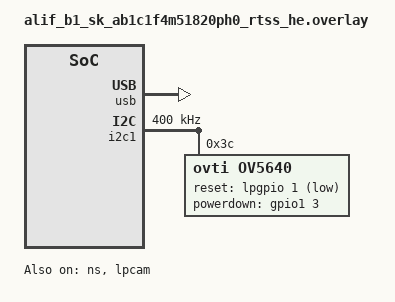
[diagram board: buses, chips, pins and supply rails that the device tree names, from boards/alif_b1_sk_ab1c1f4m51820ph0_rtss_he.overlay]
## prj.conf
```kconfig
# Copyright (C) 2026 Alif Semiconductor
# SPDX-License-Identifier: Apache-2.0

# Video
CONFIG_VIDEO=y
CONFIG_LOG=y
CONFIG_PRINTK=y
CONFIG_STDOUT_CONSOLE=y
CONFIG_I2C_TARGET=y
CONFIG_I2C=y
CONFIG_I2C_DW_CLOCK_SPEED=100
CONFIG_SYS_HEAP_AUTO=y

# USB device stack (new stack, required for DWC3). The UVC webcam class is
# implemented locally in this sample (src/uvc.c) on top of the raw device
# stack, so no in-tree class Kconfig is needed.
CONFIG_USB_DEVICE_STACK_NEXT=y
CONFIG_SAMPLE_USBD_PID=0x0008
CONFIG_SAMPLE_USBD_PRODUCT="Alif Video Capture"
CONFIG_MAIN_STACK_SIZE=2048

# Enlarge the UDC request pool: the bulk IN frame pump streams JPEG frames in
# UVC_TX_CHUNK (2 KB) pieces and needs headroom alongside the control buffers.
CONFIG_UDC_BUF_POOL_SIZE=8192
CONFIG_UDC_BUF_COUNT=16

# Quiet the USB stack — keep warnings/errors but drop the per-transfer INFOs.
CONFIG_UDC_DRIVER_LOG_LEVEL_ERR=y
CONFIG_USBD_LOG_LEVEL_ERR=y

# Console line input — only used by VIDEO_USBOUT_INTERACTIVE_CONFIG, but
# CONSOLE_GETLINE is a Kconfig choice symbol so we can't `select` it from
# our sample option; enable it here so the menu is available when the
# user flips VIDEO_USBOUT_INTERACTIVE_CONFIG on.
CONFIG_VIDEO_USBOUT_INTERACTIVE_CONFIG=y
CONFIG_CONSOLE_SUBSYS=y
CONFIG_CONSOLE_GETLINE=y
```

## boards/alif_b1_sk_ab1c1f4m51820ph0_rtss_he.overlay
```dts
/* Copyright (C) 2026 Alif Semiconductor - All Rights Reserved.
 * Use, distribution and modification of this code is permitted under the
 * terms stated in the Alif Semiconductor Software License Agreement
 *
 * You should have received a copy of the Alif Semiconductor Software
 * License Agreement with this file. If not, please write to:
 * contact@alifsemi.com, or visit: https://alifsemi.com/license
 *
 */

#include <dt-bindings/pinctrl/balletto-pinctrl.h>
#include <dt-bindings/i2c/i2c.h>
#include <dt-bindings/gpio/gpio.h>
#include <dt-bindings/video/video-interfaces.h>

/*
 * DTCM is 1536K (0x20000000..0x20180000), split at 0x200C0000:
 *
 *   [0x20000000 .. 0x200C0000)  768K  Zephyr core (.data/.bss/heap/stacks)
 *   [0x200C0000 .. 0x20180000)  768K  NON_SECURE0 (this node): USB DMA
 *                                     buffers + video capture pool
 *                                     (.alif_ns section, soc/.../alif_ns.ld)
 *
 * The video pool (camera DMA target) and the USB buffers must live in
 * NON_SECURE0, so growing the capture buffer means growing this region.
 *
 * CRITICAL: the base AND size must be aligned to the DTCM TGU block size.
 * At boot sau_tcm_ns_setup() (modules/hal/alif) marks this region non-secure
 * in BOTH the SAU (exact, 32-byte granular) and the TGU (whole DTCM blocks,
 * via integer division - see tgu.c). If the base is not block-aligned the
 * TGU marks the partial block below it non-secure while the SAU keeps it
 * secure; any secure access into that window then faults (BusFault/MemManage).
 * The DTCM TGU block on B1 is 128K; 0x200C0000 is 768K (6*128K) from the DTCM
 * base, which is block-aligned. Do not give this an unaligned base.
 *
 * Keep in sync with CONFIG_VIDEO_BUFFER_POOL_SZ_MAX (.conf) and
 * JPEG_CAPTURE_MAX_BYTES (main.c). Unlike the previous USB mass-storage
 * design there is no RAM disk here: UVC streams frames straight from the
 * capture buffer out the bulk endpoint.
 */
ns: &ns {
	status = "okay";
	reg = < 0x200C0000 DT_SIZE_K(768)>;
};

/* USB */
zephyr_udc0: &usb {
	status = "okay";
};

/*
 * Override gpio1 pinctrl to exclude P1_0 (JTAG_TMS), P1_1 (JTAG_TDI) and
 * P1_2 (JTAG_TDO) which are connected to the JTAG debug connector on the
 * B1 SK board. The default pinctrl_gpio1 covers the full port and would
 * remux those pads to GPIO, breaking the debug interface.
 */
&pinctrl {
	pinctrl_gpio1_video: pinctrl_gpio1_video {
		group0 {
			pinmux = <PIN_P1_3__GPIO>,
				 <PIN_P1_4__GPIO>,
				 <PIN_P1_5__GPIO>,
				 <PIN_P1_6__GPIO>,
				 <PIN_P1_7__GPIO>;
			read-enable = <0x1>;
		};
	};
};

&gpio1 {
	pinctrl-0 = <&pinctrl_gpio1_video>;
	status = "okay";
};

&lpgpio {
	status = "okay";
};

&i2c1 {
	status = "okay";
	clock-frequency = <I2C_BITRATE_FAST>;
	hcnt-offset = <10>;
	lcnt-offset = <10>;

	ov5640: ov5640@3c{
		compatible = "ovti,ov5640";
		reg = <0x3c>;
		status = "okay";
		reset-gpios = <&lpgpio 1 GPIO_ACTIVE_LOW>;
		powerdown-gpios = <&gpio1 3 GPIO_ACTIVE_HIGH>;

		port {
			ov5640_ep_out: endpoint {
				bus-type = <VIDEO_BUS_TYPE_PARALLEL>;
				remote-endpoint-label = "lpcam_ep_in";
			};
		};
	};
};

&lpcam {
	status = "okay";
	cpi-interface = "parallel";
	ports {
		#address-cells = <1>;
		#size-cells = <0>;

		/* Camera Input Endpoint. For LP-CAM it is only camera */
		port@0 {
			reg = <0>;
			lpcam_ep_in: endpoint {
				remote-endpoint-label = "ov5640_ep_out";
			};
		};

		/* Video buffer output endpoint. */
		port@1 {
			reg = <1>;
			cam_mem_ep_out: endpoint {
				remote-endpoint-label = "application";
			};
		};
	};
};
```

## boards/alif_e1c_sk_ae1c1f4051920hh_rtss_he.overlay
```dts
/* Copyright (C) 2026 Alif Semiconductor - All Rights Reserved.
 * Use, distribution and modification of this code is permitted under the
 * terms stated in the Alif Semiconductor Software License Agreement
 *
 * You should have received a copy of the Alif Semiconductor Software
 * License Agreement with this file. If not, please write to:
 * contact@alifsemi.com, or visit: https://alifsemi.com/license
 *
 */

#include <dt-bindings/pinctrl/ensemble-e1c-pinctrl.h>
#include <dt-bindings/i2c/i2c.h>
#include <dt-bindings/gpio/gpio.h>
#include <dt-bindings/video/video-interfaces.h>

/*
 * DTCM is 1536K (0x20000000..0x20180000), split at 0x200C0000:
 *
 *   [0x20000000 .. 0x200C0000)  768K  Zephyr core (.data/.bss/heap/stacks)
 *   [0x200C0000 .. 0x20180000)  768K  NON_SECURE0 (this node): USB DMA
 *                                     buffers + video capture pool
 *                                     (.alif_ns section, soc/.../alif_ns.ld)
 *
 * The video pool (camera DMA target) and the USB buffers must live in
 * NON_SECURE0, so growing the capture buffer means growing this region.
 *
 * CRITICAL: the base AND size must be aligned to the DTCM TGU block size.
 * At boot sau_tcm_ns_setup() (modules/hal/alif) marks this region non-secure
 * in BOTH the SAU (exact, 32-byte granular) and the TGU (whole DTCM blocks,
 * via integer division - see tgu.c). If the base is not block-aligned the
 * TGU marks the partial block below it non-secure while the SAU keeps it
 * secure; any secure access into that window then faults (BusFault/MemManage).
 * The DTCM TGU block on E1C is >= 64K; 0x200C0000 is 256K-aligned, which is
 * safe for any plausible block size. Do not give this an unaligned base.
 *
 * Keep in sync with CONFIG_VIDEO_BUFFER_POOL_SZ_MAX (.conf) and
 * JPEG_CAPTURE_MAX_BYTES (main.c). Unlike the previous USB mass-storage
 * design there is no RAM disk here: UVC streams frames straight from the
 * capture buffer out the bulk endpoint.
 */
ns: &ns {
	status = "okay";
	reg = < 0x200C0000 DT_SIZE_K(768)>;
};

/* USB */
zephyr_udc0: &usb {
	status = "okay";
};

/*
 * Override gpio1 pinctrl to exclude P1_0 (JTAG_TMS), P1_1 (JTAG_TDI) and
 * P1_2 (JTAG_TDO) which are connected to the JTAG debug connector on the
 * E1C SK board. The default pinctrl_gpio1 covers the full port and would
 * remux those pads to GPIO, breaking the debug interface.
 */
&pinctrl {
	pinctrl_gpio1_video: pinctrl_gpio1_video {
		group0 {
			pinmux = <PIN_P1_3__GPIO>,
				 <PIN_P1_4__GPIO>,
				 <PIN_P1_5__GPIO>,
				 <PIN_P1_6__GPIO>,
				 <PIN_P1_7__GPIO>;
			read-enable = <0x1>;
		};
	};
};

&gpio1 {
	pinctrl-0 = <&pinctrl_gpio1_video>;
	status = "okay";
};

&lpgpio {
	status = "okay";
};

&i2c1 {
	status = "okay";
	clock-frequency = <I2C_BITRATE_FAST>;
	hcnt-offset = <10>;
	lcnt-offset = <10>;

	ov5640: ov5640@3c{
		compatible = "ovti,ov5640";
		reg = <0x3c>;
		status = "okay";
		reset-gpios = <&lpgpio 1 GPIO_ACTIVE_LOW>;
		powerdown-gpios = <&gpio1 3 GPIO_ACTIVE_HIGH>;

		port {
			ov5640_ep_out: endpoint {
				bus-type = <VIDEO_BUS_TYPE_PARALLEL>;
				remote-endpoint-label = "lpcam_ep_in";
			};
		};
	};
};

&lpcam {
	status = "okay";
	cpi-interface = "parallel";
	ports {
		#address-cells = <1>;
		#size-cells = <0>;

		/* Camera Input Endpoint. For LP-CAM it is only camera */
		port@0 {
			reg = <0>;
			lpcam_ep_in: endpoint {
				remote-endpoint-label = "ov5640_ep_out";
			};
		};

		/* Video buffer output endpoint. */
		port@1 {
			reg = <1>;
			cam_mem_ep_out: endpoint {
				remote-endpoint-label = "application";
			};
		};
	};
};
```

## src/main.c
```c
/*
 * Copyright (C) 2026 Alif Semiconductor.
 * SPDX-License-Identifier: Apache-2.0
 *
 * OV5640 JPEG capture exposed as a USB Video Class (UVC) webcam.
 *
 * On boot the camera pipeline is initialized and the board enumerates as a
 * standard MJPEG webcam. Whenever the host opens the stream the sample
 * captures fresh JPEG frames from the sensor and pushes them out the UVC bulk
 * endpoint, so the host can grab as many frames as it likes without resetting
 * the board (unlike the previous USB mass-storage snapshot approach).
 */

#include <sample_usbd.h>

#include <zephyr/kernel.h>
#include <zephyr/device.h>
#include <zephyr/drivers/video.h>
#include <zephyr/drivers/gpio.h>
#include <zephyr/drivers/i2c.h>
#include <zephyr/usb/usbd.h>
#include <zephyr/cache.h>
#include <soc_common.h>
#include <se_service.h>
#include <string.h>
#include <zephyr/console/console.h>

#include "uvc.h"

#ifdef CONFIG_VIDEO_USBOUT_INTERACTIVE_CONFIG
#include "cam_config.h"
#endif

#include <zephyr/logging/log.h>
LOG_MODULE_REGISTER(video_usbout, LOG_LEVEL_INF);

/*
 * JPEG capture buffer size, maximised for this board. The buffer is carved
 * from the video pool in the NON_SECURE0 region. This value is bounded by
 * CONFIG_VIDEO_BUFFER_POOL_SZ_MAX (board .conf), which must be this plus
 * ~1.5 KB for k_heap block headers / alignment overhead. Keep both in sync,
 * and in sync with UVC_MAX_FRAME_SIZE (uvc.h). See the .overlay for the DTCM
 * memory budget.
 */
#define JPEG_CAPTURE_MAX_BYTES (672U * 1024U)

/*
 * Sanity floor for a captured full-resolution JPEG. A real 2592x1944 frame is
 * far larger than this; anything smaller indicates a truncated/garbled capture
 * (e.g. find_jpeg_size latched onto an early false EOI) and is dropped.
 */
#define JPEG_MIN_VALID_BYTES (8U * 1024U)

/*
 * Alignment of the capture buffer in DTCM. The CPI/LPCAM driver only requires
 * 8-byte alignment for the AXI frame address, but on enqueue it does a
 * sys_cache_data_flush_and_invd_range() over the whole buffer. Over-aligning
 * the start to 128 bytes (and JPEG_CAPTURE_MAX_BYTES is a multiple of 128, so
 * the end lands on a boundary too) keeps that cache maintenance from touching
 * the neighbouring USB buffers / heap metadata in the NON_SECURE0 region.
 */
#define CAPTURE_BUF_ALIGN 128U

/*
 * Diagnostic: capture a single frame, then stream that same static buffer to
 * the host over and over without re-capturing. If the host still sees
 * intermittent corruption with this set, the fault is in the USB/UVC path;
 * if the static frame is always clean, the per-frame capture is to blame.
 * Set to 0 for normal live capture.
 */
#define UVC_DEBUG_STATIC_FRAME 0

/*
 * Diagnostic: stream the last captured frame to the host continuously and only
 * re-capture when the user asks for it (press Enter on the console). Because
 * the streamed bytes are frozen between manual captures, this pins down where
 * corruption enters: if the host keeps seeing corruption while nothing is being
 * re-captured, it is in the USB/UVC path (or the host); if only freshly
 * captured frames are corrupt, it is in the capture path. Mutually exclusive
 * with UVC_DEBUG_STATIC_FRAME; set to 0 for normal live capture.
 */
#define UVC_DEBUG_MANUAL_CAPTURE 0

/*
 * Upper bound on how long a single snapshot capture may take. A real capture
 * completes within a few sensor frame periods (a couple hundred ms); the
 * generous 2 s ceiling only trips when the CPI driver dropped the frame as
 * corrupt (a FIFO overrun latched in the same interrupt as end-of-frame) and
 * therefore never delivered a buffer. Without it, video_dequeue(K_FOREVER)
 * would block forever on such a frame and the stream would stall.
 */
#define CAPTURE_TIMEOUT K_MSEC(2000)

/*
 * OV5640 JPEG VFIFO overflow status register. A non-zero value means the
 * sensor's internal JPEG FIFO overflowed while emitting the frame: it then
 * drops entropy-coded bytes mid/late in the image yet still appends a valid
 * EOI marker. The result is a JPEG that decodes correctly until the bottom
 * rows run out of bits (mjpeg_decode_dc: bad vlc / overread at the last MCU
 * row). find_jpeg_size() cannot catch this because the EOI is genuine, so the
 * register is logged per frame to confirm whether the corruption tracks sensor
 * JFIFO overflow (in which case the fix is sensor-side: more JPEG compression
 * or a faster pixel clock to drain the FIFO).
 */
#define OV5640_JFIFO_OVERFLOW_REG 0x4417U

static const struct i2c_dt_spec ov5640_i2c =
	I2C_DT_SPEC_GET(DT_NODELABEL(ov5640));

static void log_jfifo_overflow(void)
{
	uint8_t addr_buf[2] = {
		(uint8_t)(OV5640_JFIFO_OVERFLOW_REG >> 8),
		(uint8_t)(OV5640_JFIFO_OVERFLOW_REG & 0xFF),
	};
	uint8_t val = 0;
	int ret;

	ret = i2c_write_read_dt(&ov5640_i2c, addr_buf, sizeof(addr_buf),
				&val, sizeof(val));
	if (ret) {
		LOG_WRN("OV5640 JFIFO overflow read failed: %d", ret);
		return;
	}

	if (val != 0) {
		LOG_WRN("OV5640 JFIFO OVERFLOW: reg 0x4417 = 0x%02x "
			"(sensor dropped JPEG entropy bytes this frame)", val);
	} else {
		LOG_INF("OV5640 JFIFO ok: reg 0x4417 = 0x%02x", val);
	}
}

/*
 * Determine the compressed size of a captured JPEG frame.
 *
 * The capture buffer is zero-filled before every capture (see
 * capture_one_jpeg) and the sensor is configured to emit no dummy padding
 * after the image, so the populated region of the buffer is exactly one JPEG
 * ending in the EOI marker (0xFF 0xD9) followed by zero padding. The true end
 * of frame is therefore the last non-zero byte, which for a complete JPEG is
 * the second EOI byte.
 *
 * Scanning backwards from the end of the buffer (rather than forwards for the
 * first 0xFF 0xD9 after the Start-Of-Scan) is deliberate: a single bus or
 * sensor-FIFO glitch can flip a byte-stuffed 0xFF 0x00 pair into 0xFF 0xD9
 * inside the entropy-coded data. A forward "first EOI" scan latches onto that
 * false marker and reports a size short of the real frame, so the host gets a
 * JPEG whose last rows are missing and the decoder overreads at the bottom of
 * the image (mjpeg_decode_dc: bad vlc / overread, error y=<last MCU row>).
 * Anchoring on the real end of data avoids that, and an EOI inside an EXIF
 * thumbnail (which precedes the main image) is likewise never mistaken for the
 * end.
 *
 * Returns the JPEG length on success, or -EIO if the capture does not start
 * with SOI or does not end in EOI (truncated / overflowed / garbled frame), in
 * which case the caller drops it and re-captures.
 */
static int find_jpeg_size(const uint8_t *bytes, size_t bsize)
{
	size_t end = bsize;

	if (bsize < 4 || bytes[0] != 0xFF || bytes[1] != 0xD8) {
		LOG_ERR("No JPEG SOI marker (got %02x %02x)",
			bytes[0], bytes[1]);
		return -EIO;
	}

	/* Walk back over the zero padding to the last populated byte. */
	while (end > 0 && bytes[end - 1] == 0x00) {
		end--;
	}

	/*
	 * A complete frame ends in EOI. If the last populated byte is not the
	 * second EOI byte, the capture was truncated (the CPI dropped the tail
	 * burst, so the sensor's EOI never landed) and is unusable.
	 */
	if (end < 4 || bytes[end - 1] != 0xD9 || bytes[end - 2] != 0xFF) {
		LOG_ERR("JPEG does not end in EOI (truncated/garbled capture)");
		return -EIO;
	}

	/*
	 * No zero padding at all means the JPEG was at least as large as the
	 * capture buffer, i.e. it overran JPEG_CAPTURE_MAX_BYTES (and the bytes
	 * past the end of the buffer were written into neighbouring memory).
	 * Reject it: such a frame is corrupt and must not be streamed.
	 */
	if (end >= bsize) {
		LOG_ERR("JPEG filled the whole %zu byte capture buffer "
			"(overflow) - increase JPEG_CAPTURE_MAX_BYTES or "
			"raise the sensor JPEG compression (QS).", bsize);
		return -EIO;
	}

	return (int)end;
}

/*
 * Capture one JPEG frame into buf. The OV5640 JPEG path runs the CPI in
 * snapshot mode (one frame per stream_start/stop), so each frame re-arms the
 * pipeline. On success buf->bytesused holds the compressed JPEG size.
 */
static int capture_one_jpeg(const struct device *video,
			    struct video_buffer *buf, size_t bsize)
{
	struct video_buffer *vbuf;
	int jpeg_size;
	int ret;

	/*
	 * Clear the buffer before every capture. The CPI driver stops on the
	 * 2nd VSYNC and occasionally drops the final AXI burst, truncating the
	 * JPEG tail. Since the buffer is reused frame to frame, a stale 0xFF
	 * 0xD9 from a previous capture would otherwise sit past the truncation
	 * point and fool find_jpeg_size() into reporting a false end. Zeroing
	 * first guarantees a truncated frame has no EOI, so it is cleanly
	 * rejected below and re-captured rather than streamed corrupted.
	 * (The driver flushes this buffer to RAM on enqueue, so the zeros land
	 * before the camera DMA overwrites them.)
	 */
	memset(buf->buffer, 0, bsize);

	ret = video_enqueue(video, VIDEO_EP_OUT, buf);
	if (ret) {
		LOG_ERR("Unable to enqueue buf: %d", ret);
		return ret;
	}

	ret = video_stream_start(video);
	if (ret) {
		LOG_ERR("Unable to start capture: %d", ret);
		return ret;
	}

	/*
	 * The CPI driver stops capture on the 2nd VSYNC (end-of-frame) and
	 * moves the buffer to fifo_out. Block on video_dequeue until that
	 * happens, then scan the buffer for the JPEG EOI marker.
	 */
	ret = video_dequeue(video, VIDEO_EP_OUT, &vbuf, CAPTURE_TIMEOUT);
	if (ret == -EAGAIN) {
		/*
		 * No buffer arrived within CAPTURE_TIMEOUT. The CPI driver drops
		 * frames it flags as corrupt (a FIFO overrun latched in the same
		 * interrupt as end-of-frame) instead of delivering them, so the
		 * buffer is still sitting in the driver's IN-FIFO. Stop the
		 * stream and reclaim it: stream_stop zeroes curr_vid_buf so the
		 * flush below can move the buffer to the OUT-FIFO, and draining it
		 * leaves the caller free to re-enqueue the same buffer and retry.
		 */
		LOG_WRN("Capture timed out; driver dropped the frame, reclaiming");
		log_jfifo_overflow();
		video_stream_stop(video);
		video_flush(video, VIDEO_EP_OUT, false);
		while (video_dequeue(video, VIDEO_EP_OUT, &vbuf, K_NO_WAIT) == 0) {
			/* Drain the reclaimed buffer so it can be re-enqueued. */
		}
		return -EAGAIN;
	}
	if (ret) {
		LOG_ERR("Unable to dequeue video buf: %d", ret);
		return ret;
	}

	/*
	 * The CPI driver only does cache maintenance on enqueue (before DMA),
	 * not after the frame lands, so invalidate here to make sure the CPU
	 * reads the freshly DMA'd JPEG rather than stale cache lines.
	 */
	sys_cache_data_invd_range(vbuf->buffer, bsize);

	/*
	 * Log the sensor's JPEG FIFO overflow status for this frame. If this
	 * fires in step with the host-side tail corruption, the sensor (not the
	 * USB path or find_jpeg_size) is dropping entropy bytes and the fix
	 * belongs on the sensor side (higher JPEG compression / faster PCLK).
	 */
	log_jfifo_overflow();

	jpeg_size = find_jpeg_size(vbuf->buffer, bsize);
	if (jpeg_size < 0 || jpeg_size < (int)JPEG_MIN_VALID_BYTES) {
		/* Truncated/garbled capture: drop it, the caller re-captures. */
		video_flush(video, VIDEO_EP_OUT, false);
		video_stream_stop(video);
		return (jpeg_size < 0) ? jpeg_size : -EIO;
	}

	vbuf->bytesused = jpeg_size;

	video_flush(video, VIDEO_EP_OUT, false);
	ret = video_stream_stop(video);
	if (ret) {
		LOG_ERR("Unable to stop capture: %d", ret);
	}
	return 0;
}

#if UVC_DEBUG_MANUAL_CAPTURE
/*
 * Manual-capture trigger. A tiny background thread blocks on console line
 * input; each Enter sets manual_capture_request, which the streaming loop in
 * main() polls between sends and consumes by grabbing exactly one fresh frame.
 * The thread touches neither the capture buffer nor the video device, so
 * capture and USB transmit stay serialised in the main thread with no buffer
 * race against the repeat-send.
 */
#define MANUAL_KEY_STACK_SIZE 1536
#define MANUAL_KEY_PRIORITY   7

static K_THREAD_STACK_DEFINE(manual_key_stack, MANUAL_KEY_STACK_SIZE);
static struct k_thread manual_key_thread;
static volatile bool manual_capture_request;

static void manual_key_entry(void *p1, void *p2, void *p3)
{
	ARG_UNUSED(p1);
	ARG_UNUSED(p2);
	ARG_UNUSED(p3);

#ifndef CONFIG_VIDEO_USBOUT_INTERACTIVE_CONFIG
	/*
	 * The interactive register menu already initialises console line input
	 * before this thread is started; only initialise it here when that menu
	 * is compiled out.
	 */
	console_getline_init();
#endif

	while (1) {
		/* Blocks until the user presses Enter; the text is ignored. */
		(void)console_getline();
		manual_capture_request = true;
	}
}
#endif /* UVC_DEBUG_MANUAL_CAPTURE */

int main(void)
{
	struct video_format fmt = { 0 };
	struct video_caps caps;
	const struct device *video;
	struct video_buffer *buf;
	struct usbd_context *sample_usbd;
	size_t bsize;
	int ret;
	int i = 0;

	video = DEVICE_DT_GET_ONE(alif_cam);

	if (!device_is_ready(video)) {
		LOG_ERR("%s: device not ready.", video->name);
		return -1;
	}
	LOG_INF("- Device name: %s", video->name);

	if (video_get_caps(video, VIDEO_EP_OUT, &caps)) {
		LOG_ERR("Unable to retrieve video capabilities");
		return -1;
	}

	while (caps.format_caps[i].pixelformat) {
		const struct video_format_cap *fcap = &caps.format_caps[i];

		if (fcap->pixelformat == VIDEO_PIX_FMT_JPEG) {
			fmt.pixelformat = VIDEO_PIX_FMT_JPEG;
			fmt.width = UVC_FRAME_WIDTH;
			fmt.height = UVC_FRAME_HEIGHT;
		}
		i++;
	}

	if (fmt.pixelformat == 0) {
		LOG_ERR("JPEG pixel format not advertised by sensor.");
		return -1;
	}

	fmt.pitch = fmt.width;

	ret = video_set_format(video, VIDEO_EP_OUT, &fmt);
	if (ret) {
		LOG_ERR("Failed to set video format: %d", ret);
		return -1;
	}
	LOG_INF("- format: JPEG %ux%u", fmt.width, fmt.height);

	bsize = MIN((size_t)JPEG_CAPTURE_MAX_BYTES,
		    (size_t)fmt.width * fmt.height);

	buf = video_buffer_aligned_alloc(bsize, CAPTURE_BUF_ALIGN, K_NO_WAIT);
	if (buf == NULL) {
		LOG_ERR("Unable to alloc video buffer");
		return -1;
	}
	LOG_INF("- capture buffer: %zu bytes at 0x%08x",
		bsize, (uint32_t)buf->buffer);

#ifdef CONFIG_VIDEO_USBOUT_INTERACTIVE_CONFIG
	cam_interactive_config();
#endif

	sample_usbd = sample_usbd_init_device(NULL);
	if (sample_usbd == NULL) {
		LOG_ERR("Failed to initialize USB device");
		return -1;
	}

	ret = usbd_enable(sample_usbd);
	if (ret) {
		LOG_ERR("Failed to enable USB: %d", ret);
		return -1;
	}
	LOG_INF("UVC webcam enabled — waiting for host to open the stream.");

#if UVC_DEBUG_STATIC_FRAME
	/* Capture one frame up front and stream it repeatedly (see above). */
	do {
		ret = capture_one_jpeg(video, buf, bsize);
	} while (ret);
	LOG_INF("DEBUG: streaming static %u-byte frame repeatedly",
		buf->bytesused);

	while (1) {
		ret = uvc_wait_for_stream(-1);
		if (ret) {
			continue;
		}

		ret = uvc_send_frame(buf->buffer, buf->bytesused);
		if (ret) {
			LOG_INF("Frame send aborted (%d), stream likely closed",
				ret);
		}
	}
#elif UVC_DEBUG_MANUAL_CAPTURE
	/*
	 * Manual-capture diagnostic: grab one frame up front, then stream that
	 * same buffer to the host over and over. The background key thread sets
	 * manual_capture_request when the user presses Enter; the loop consumes
	 * it by capturing exactly one fresh frame into the same buffer before
	 * resuming the repeat-send. Between captures the streamed bytes never
	 * change, so corruption the host still sees is downstream of capture
	 * (USB/UVC path or host), while corruption that appears only on freshly
	 * captured frames points back at the capture path.
	 */
	do {
		ret = capture_one_jpeg(video, buf, bsize);
	} while (ret);
	LOG_INF("Initial capture: JPEG at 0x%08x, size=%u bytes "
		"(dump 0x%08x..0x%08x)",
		(uint32_t)buf->buffer, buf->bytesused,
		(uint32_t)buf->buffer,
		(uint32_t)buf->buffer + buf->bytesused);
	LOG_HEXDUMP_INF(&buf->buffer[buf->bytesused - 48], 48,
			"last 48 JPEG bytes");

	k_thread_create(&manual_key_thread, manual_key_stack,
			K_THREAD_STACK_SIZEOF(manual_key_stack),
			manual_key_entry, NULL, NULL, NULL,
			MANUAL_KEY_PRIORITY, 0, K_NO_WAIT);

	LOG_INF("DEBUG: manual-capture mode — streaming the last frame; "
		"press Enter on the console to capture a fresh one.");

	while (1) {
		ret = uvc_wait_for_stream(-1);
		if (ret) {
			continue;
		}

		if (manual_capture_request) {
			manual_capture_request = false;

			ret = capture_one_jpeg(video, buf, bsize);
			if (ret) {
				LOG_WRN("Manual capture failed (%d); keeping "
					"the previous frame", ret);
			} else {
				LOG_INF("Manual capture: JPEG at 0x%08x, "
					"size=%u bytes (dump 0x%08x..0x%08x)",
					(uint32_t)buf->buffer,
					buf->bytesused,
					(uint32_t)buf->buffer,
					(uint32_t)buf->buffer +
						buf->bytesused);
				LOG_HEXDUMP_INF(
					&buf->buffer[buf->bytesused - 48],
					48, "last 48 JPEG bytes");
			}
		}

		ret = uvc_send_frame(buf->buffer, buf->bytesused);
		if (ret) {
			LOG_INF("Frame send aborted (%d), stream likely closed",
				ret);
		}
	}
#else
	while (1) {
		/* Block until the host commits/opens the video stream. */
		ret = uvc_wait_for_stream(-1);
		if (ret) {
			continue;
		}

		ret = capture_one_jpeg(video, buf, bsize);
		if (ret) {
			/* Truncated/garbled frame was dropped; re-capture. */
			LOG_WRN("Dropped bad capture (%d), retrying", ret);
			continue;
		}

		/*
		 * DEBUG: dump the JPEG tail as it sits in the capture buffer,
		 * before any USB transfer, so it can be compared byte-for-byte
		 * against the frame the host receives. The last two bytes must
		 * be FF D9 (EOI). If this tail is already corrupt, the fault is
		 * in capture; if it is clean but the host's frame is not, the
		 * fault is in the USB path.
		 */
		LOG_INF("JPEG at 0x%08x, size=%u bytes (dump 0x%08x..0x%08x)",
			(uint32_t)buf->buffer, buf->bytesused,
			(uint32_t)buf->buffer,
			(uint32_t)buf->buffer + buf->bytesused);
		LOG_HEXDUMP_INF(&buf->buffer[buf->bytesused - 48], 48,
				"last 48 JPEG bytes");

		ret = uvc_send_frame(buf->buffer, buf->bytesused);
		if (ret) {
			LOG_INF("Frame send aborted (%d), stream likely closed",
				ret);
		}
	}
#endif

	return 0;
}

static int app_set_parameters(void)
{
	run_profile_t runp = { 0 };
	int ret;

	runp.power_domains  = PD_SYST_MASK | PD_SSE700_AON_MASK | PD_DBSS_MASK;
	runp.dcdc_voltage   = 825;
	runp.dcdc_mode      = DCDC_MODE_PWM;
	runp.aon_clk_src    = CLK_SRC_LFXO;
	runp.run_clk_src    = CLK_SRC_PLL;
	runp.vdd_ioflex_3V3 = IOFLEX_LEVEL_1V8;
	runp.cpu_clk_freq   = CLOCK_FREQUENCY_160MHZ;

	runp.memory_blocks = MRAM_MASK;
#if DT_NODE_EXISTS(DT_NODELABEL(sram0))
	runp.memory_blocks |= SRAM0_MASK;
#endif

	runp.phy_pwr_gating  = MIPI_TX_DPHY_MASK | MIPI_RX_DPHY_MASK |
			       MIPI_PLL_DPHY_MASK | LDO_PHY_MASK | USB_PHY_MASK;
	runp.ip_clock_gating = CAMERA_MASK | MIPI_CSI_MASK | MIPI_DSI_MASK |
			       USB_MASK;

	ret = se_service_set_run_cfg(&runp);
	if (ret) {
		__ASSERT(false, "SE: set_run_cfg failed = %d", ret);
		return ret;
	}

	/* LPCAM pixel clock and OV5640 enable-buffer GPIO. */
	sys_write32(0x080001, M55HE_CFG_HE_CAMERA_PIXCLK);

	const struct gpio_dt_spec cam_enbuf =
		GPIO_DT_SPEC_GET(DT_NODELABEL(cam_enbuf), enbuf_gpios);
		//GPIO_DT_SPEC_GET(DT_NODELABEL(cam_enbuf), enable_gpios); for rebased version

	gpio_pin_configure_dt(&cam_enbuf, GPIO_OUTPUT_ACTIVE);

	return 0;
}

SYS_INIT(app_set_parameters, PRE_KERNEL_1, 46);
```

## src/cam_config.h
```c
/*
 * Copyright (C) 2026 Alif Semiconductor.
 * SPDX-License-Identifier: Apache-2.0
 */

#ifndef VIDEO_USBOUT_CAM_CONFIG_H
#define VIDEO_USBOUT_CAM_CONFIG_H

int cam_interactive_config(void);

#endif
```

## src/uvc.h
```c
/*
 * Copyright (C) 2026 Alif Semiconductor.
 * SPDX-License-Identifier: Apache-2.0
 *
 * Minimal USB Video Class (UVC 1.10) MJPEG webcam, bulk-based.
 *
 * This is a sample-local USBD class implementation. It advertises a single
 * MJPEG format / single frame size to the host and streams JPEG frames out a
 * bulk IN endpoint, one UVC payload per frame. It is intentionally small: it
 * does not negotiate resolution or frame rate (the sensor delivers a fixed
 * full-resolution JPEG), so Probe/Commit always returns the one fixed
 * configuration.
 *
 * Why bulk and not isochronous: bulk needs no per-(micro)frame bandwidth
 * reservation and no alternate-setting juggling, the DWC3 controller streams
 * it efficiently, and Linux uvcvideo / Windows both accept bulk MJPEG. The
 * trade-off is there is no host-visible "stop" event for bulk streaming, so
 * stream teardown is driven by USB disable/disconnect (see uvc.c).
 */

#ifndef VIDEO_USBOUT_UVC_H_
#define VIDEO_USBOUT_UVC_H_

#include <stddef.h>
#include <stdint.h>
#include <stdbool.h>

/*
 * Declared frame geometry. Must match the format the sample configures on the
 * sensor (main.c). The host is told the stream is MJPEG of this size; the
 * actual JPEG bytes we send come straight from the sensor.
 */
#define UVC_FRAME_WIDTH  2592U
#define UVC_FRAME_HEIGHT 1944U

/*
 * Upper bound on a single JPEG frame, used for the dwMaxVideoFrameSize /
 * dwMaxVideoFrameBufferSize descriptor fields. Keep in sync with
 * JPEG_CAPTURE_MAX_BYTES in main.c.
 */
#define UVC_MAX_FRAME_SIZE (672U * 1024U)

/**
 * @brief Block until the host has committed the stream and wants frames.
 *
 * Returns once the host has issued the UVC COMMIT (SET_CUR on
 * VS_COMMIT_CONTROL) and the configuration is enabled, i.e. it is meaningful
 * to start capturing and pushing frames. Returns immediately if streaming is
 * already active.
 *
 * @param timeout_ms Maximum time to wait, or -1 to wait forever.
 * @return 0 when streaming is active, -EAGAIN on timeout.
 */
int uvc_wait_for_stream(int timeout_ms);

/**
 * @brief Send one JPEG frame to the host as a single UVC payload.
 *
 * Blocks until the whole frame has been transferred over the bulk IN endpoint
 * (which, because the host pulls at its own pace, naturally throttles the
 * caller's capture loop to host consumption). Returns early with an error if
 * streaming is torn down (USB disable / disconnect) or a chunk transfer stalls
 * past the internal timeout.
 *
 * @param jpeg Pointer to the JPEG frame.
 * @param len  Length of the JPEG frame in bytes.
 * @return 0 on success, negative errno on failure / aborted stream.
 */
int uvc_send_frame(const uint8_t *jpeg, size_t len);

/**
 * @brief Whether the host currently has the stream committed/enabled.
 */
bool uvc_is_streaming(void);

#endif /* VIDEO_USBOUT_UVC_H_ */
```
